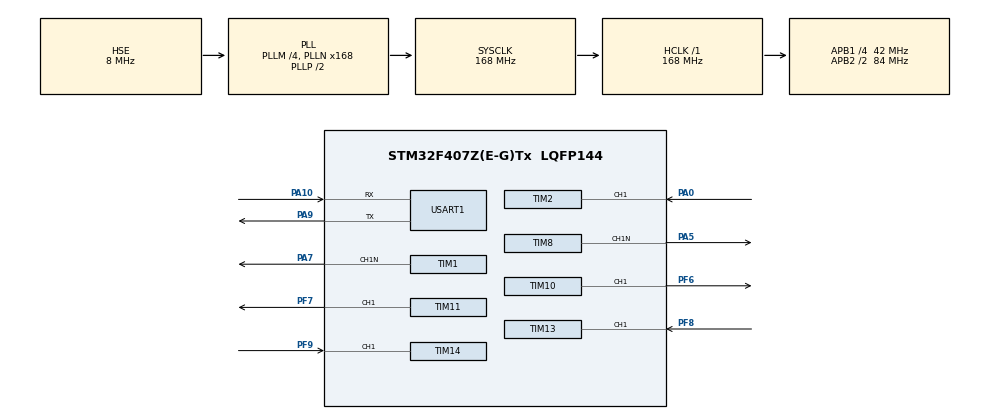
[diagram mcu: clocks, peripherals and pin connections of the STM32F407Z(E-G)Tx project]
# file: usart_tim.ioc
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Mcu.Family=STM32F4
Mcu.Name=STM32F407Z(E-G)Tx
Mcu.Package=LQFP144
NVIC.PriorityGroup=NVIC_PRIORITYGROUP_4
NVIC.TIM2_IRQn=true\:0\:0\:false\:false\:true\:true
NVIC.TIM3_IRQn=true\:0\:0\:false\:false\:true\:true
NVIC.TIM8_TRG_COM_TIM14_IRQn=true\:0\:0\:false\:false\:true\:true
NVIC.TIM8_UP_TIM13_IRQn=true\:0\:0\:false\:false\:true\:true
NVIC.USART1_IRQn=true\:0\:0\:false\:false\:true\:true
PA0-WKUP.GPIO_PuPd=GPIO_PULLUP
PA0-WKUP.GPIO_Speed=GPIO_SPEED_FREQ_HIGH
PA0-WKUP.Signal=S_TIM2_CH1_ETR
PA10.Mode=Asynchronous
PA10.Signal=USART1_RX
PA5.GPIO_PuPd=GPIO_PULLUP
PA5.GPIO_Speed=GPIO_SPEED_FREQ_HIGH
PA5.Mode=PWM Generation1 CH1N
PA5.Signal=TIM8_CH1N
PA7.Mode=PWM Generation1 CH1N
PA7.Signal=TIM1_CH1N
PA9.Mode=Asynchronous
PA9.Signal=USART1_TX
PF6.GPIO_PuPd=GPIO_PULLUP
PF6.GPIO_Speed=GPIO_SPEED_FREQ_HIGH
PF6.Signal=S_TIM10_CH1
PF7.GPIO_PuPd=GPIO_PULLUP
PF7.GPIO_Speed=GPIO_SPEED_FREQ_HIGH
PF7.Signal=S_TIM11_CH1
PF8.GPIO_PuPd=GPIO_PULLUP
PF8.GPIO_Speed=GPIO_SPEED_FREQ_HIGH
PF8.Signal=S_TIM13_CH1
PF9.GPIO_PuPd=GPIO_PULLUP
PF9.GPIO_Speed=GPIO_SPEED_FREQ_HIGH
PF9.Signal=S_TIM14_CH1
PH0-OSC_IN.Mode=HSE-External-Oscillator
PH0-OSC_IN.Signal=RCC_OSC_IN
PH1-OSC_OUT.Mode=HSE-External-Oscillator
PH1-OSC_OUT.Signal=RCC_OSC_OUT
ProjectManager.HeapSize=0x200
ProjectManager.StackSize=0x400
ProjectManager.TargetToolchain=MDK-ARM V5
RCC.48MHZClocksFreq_Value=84000000
RCC.AHBFreq_Value=168000000
RCC.APB1CLKDivider=RCC_HCLK_DIV4
RCC.APB1Freq_Value=42000000
RCC.APB1TimFreq_Value=84000000
RCC.APB2CLKDivider=RCC_HCLK_DIV2
RCC.APB2Freq_Value=84000000
RCC.APB2TimFreq_Value=168000000
RCC.CortexFreq_Value=168000000
RCC.HCLKFreq_Value=168000000
RCC.HSE_VALUE=8000000
RCC.HSI_VALUE=16000000
RCC.LSE_VALUE=32768
RCC.PLLM=4
RCC.PLLN=168
RCC.PLLSourceVirtual=RCC_PLLSOURCE_HSE
RCC.SYSCLKFreq_VALUE=168000000
RCC.SYSCLKSource=RCC_SYSCLKSOURCE_PLLCLK
RCC.VCOOutputFreq_Value=336000000
SH.S_TIM10_CH1.0=TIM10_CH1,PWM Generation1 CH1
SH.S_TIM11_CH1.0=TIM11_CH1,PWM Generation1 CH1
SH.S_TIM13_CH1.0=TIM13_CH1,Input_Capture1_from_TI1
SH.S_TIM14_CH1.0=TIM14_CH1,Input_Capture1_from_TI1
SH.S_TIM2_CH1_ETR.0=TIM2_CH1,Input_Capture1_from_TI1
TIM1.Channel-PWM\ Generation1\ CH1N=TIM_CHANNEL_1
TIM1.Period=2000-1
TIM1.Prescaler=83
TIM10.Channel=TIM_CHANNEL_1
TIM10.Period=2000-1
TIM10.Prescaler=84-1
TIM11.Channel=TIM_CHANNEL_1
TIM11.Period=2000-1
TIM11.Prescaler=83
TIM13.Channel=TIM_CHANNEL_1
TIM13.ICPolarity_CH1=TIM_INPUTCHANNELPOLARITY_RISING
TIM13.Period=0xFFFF
TIM13.Prescaler=83
TIM14.Channel=TIM_CHANNEL_1
TIM14.ICPolarity_CH1=TIM_INPUTCHANNELPOLARITY_RISING
TIM14.Period=0x0FFFF
TIM14.Prescaler=83
TIM2.Channel-Input_Capture1_from_TI1=TIM_CHANNEL_1
TIM2.Period=0xFFFFFFFF
TIM2.Prescaler=84-1
TIM3.Period=50000-1
TIM3.Prescaler=83
TIM8.Channel-PWM\ Generation1\ CH1N=TIM_CHANNEL_1
TIM8.Period=2000-1
TIM8.Prescaler=83
USART1.VirtualMode=VM_ASYNC
VP_TIM10_VS_ClockSourceINT.Mode=Enable_Timer
VP_TIM11_VS_ClockSourceINT.Mode=Enable_Timer
VP_TIM13_VS_ClockSourceINT.Mode=Enable_Timer
VP_TIM14_VS_ClockSourceINT.Mode=Enable_Timer
VP_TIM1_VS_ClockSourceINT.Mode=Internal
VP_TIM2_VS_ClockSourceINT.Mode=Internal
VP_TIM3_VS_ClockSourceINT.Mode=Internal
VP_TIM8_VS_ClockSourceINT.Mode=Internal
board=custom

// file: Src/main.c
/**
  ******************************************************************************
  * @file           : main.c
  * @brief          : Main program body
  ******************************************************************************
  ** This notice applies to any and all portions of this file
  * that are not between comment pairs USER CODE BEGIN and
  * USER CODE END. Other portions of this file, whether
  * inserted by the user or by software development tools
  * are owned by their respective copyright owners.
  *
  * COPYRIGHT(c) 2018 STMicroelectronics
  *
  * Redistribution and use in source and binary forms, with or without modification,
  * are permitted provided that the following conditions are met:
  *   1. Redistributions of source code must retain the above copyright notice,
  *      this list of conditions and the following disclaimer.
  *   2. Redistributions in binary form must reproduce the above copyright notice,
  *      this list of conditions and the following disclaimer in the documentation
  *      and/or other materials provided with the distribution.
  *   3. Neither the name of STMicroelectronics nor the names of its contributors
  *      may be used to endorse or promote products derived from this software
  *      without specific prior written permission.
  *
  * THIS SOFTWARE IS PROVIDED BY THE COPYRIGHT HOLDERS AND CONTRIBUTORS "AS IS"
  * AND ANY EXPRESS OR IMPLIED WARRANTIES, INCLUDING, BUT NOT LIMITED TO, THE
  * IMPLIED WARRANTIES OF MERCHANTABILITY AND FITNESS FOR A PARTICULAR PURPOSE ARE
  * DISCLAIMED. IN NO EVENT SHALL THE COPYRIGHT HOLDER OR CONTRIBUTORS BE LIABLE
  * FOR ANY DIRECT, INDIRECT, INCIDENTAL, SPECIAL, EXEMPLARY, OR CONSEQUENTIAL
  * DAMAGES (INCLUDING, BUT NOT LIMITED TO, PROCUREMENT OF SUBSTITUTE GOODS OR
  * SERVICES; LOSS OF USE, DATA, OR PROFITS; OR BUSINESS INTERRUPTION) HOWEVER
  * CAUSED AND ON ANY THEORY OF LIABILITY, WHETHER IN CONTRACT, STRICT LIABILITY,
  * OR TORT (INCLUDING NEGLIGENCE OR OTHERWISE) ARISING IN ANY WAY OUT OF THE USE
  * OF THIS SOFTWARE, EVEN IF ADVISED OF THE POSSIBILITY OF SUCH DAMAGE.
  *
  ******************************************************************************
  */
#include "main.h"
#include "stm32f4xx_hal.h"
#include "tim.h"
#include "usart.h"
#include "gpio.h"

#define L_setspeed  750
#define R_setspeed  750
/* USER CODE BEGIN Includes */
struct PID
{
	float p;
	float i;
	float d;
};

/* USER CODE END Includes */

/* USER CODE BEGIN PV */
/* Private variables ---------------------------------------------------------*/
uint8_t ReceiveBuff[1];
uint8_t TxBuff[4]="casd";
int i=0;
extern float Freq_CaptureL;
extern float Freq_CaptureR;
struct PID K_motor_L;
struct PID K_motor_R;

int16_t l_out=0,r_out=0;

int l_speed_err0=0;
int l_speed_err1=0;
int l_speed_err2=0;

int r_speed_err0=0;
int r_speed_err1=0;
int r_speed_err2=0;

void encode_data();
void MotorMove(int L_speed,int R_speed);
/* USER CODE END PV */

void SystemClock_Config(void);

/* USER CODE BEGIN PFP */
/* Private function prototypes -----------------------------------------------*/

/* USER CODE END PFP */

int main(void)
{
  /* USER CODE BEGIN 1 */
	K_motor_L.p = 0.766;
	K_motor_L.i = 0.3400;
	K_motor_L.d = 0.005;

//	K_motor_L.p = 0;
//	K_motor_L.i = 0;
//	K_motor_L.d = 0;

	K_motor_R.p = 0.75;
	K_motor_R.i = 0.3;
	K_motor_R.d = 0.005;

  /* USER CODE END 1 */

  /* MCU Configuration----------------------------------------------------------*/

  /* Reset of all peripherals, Initializes the Flash interface and the Systick. */
  HAL_Init();

  /* Configure the system clock */
  SystemClock_Config();

  /* Initialize all configured peripherals */
  MX_GPIO_Init();
  MX_USART1_UART_Init();
  MX_TIM1_Init();
  MX_TIM3_Init();
  MX_TIM13_Init();
  MX_TIM14_Init();
  MX_TIM8_Init();
  MX_TIM10_Init();
  MX_TIM11_Init();
  MX_TIM2_Init();
  /* USER CODE BEGIN 2 */
	HAL_UART_Transmit(&huart1,TxBuff,4,10);

	HAL_TIM_PWM_Start(&htim10,TIM_CHANNEL_1);
	HAL_TIM_PWM_Start(&htim11,TIM_CHANNEL_1);
	HAL_TIMEx_PWMN_Start(&htim1,TIM_CHANNEL_1);
	HAL_TIMEx_PWMN_Start(&htim8,TIM_CHANNEL_1);

	__HAL_TIM_SetCompare(&htim11,TIM_CHANNEL_1,0);
	__HAL_TIM_SetCompare(&htim10,TIM_CHANNEL_1,0);
	__HAL_TIM_SetCompare(&htim8,TIM_CHANNEL_1,0);
	__HAL_TIM_SetCompare(&htim1,TIM_CHANNEL_1,0);

	//HAL_Delay(2000);
	HAL_UART_Receive_IT(&huart1,ReceiveBuff,1);
	HAL_TIM_Base_Start_IT(&htim3);
	HAL_TIM_IC_Start_IT(&htim13,TIM_CHANNEL_1);
	HAL_TIM_IC_Start_IT(&htim14,TIM_CHANNEL_1);
	HAL_TIM_IC_Start_IT(&htim2,TIM_CHANNEL_1);

	//HAL_TIM_IC_Start_IT(&htim2,TIM_CHANNEL_2);
  /* USER CODE END 2 */

  /* Infinite loop */
  while (1)
  {

  }

}

void SystemClock_Config(void)
{

  RCC_OscInitTypeDef RCC_OscInitStruct;
  RCC_ClkInitTypeDef RCC_ClkInitStruct;

    /**Configure the main internal regulator output voltage
    */
  __HAL_RCC_PWR_CLK_ENABLE();

  __HAL_PWR_VOLTAGESCALING_CONFIG(PWR_REGULATOR_VOLTAGE_SCALE1);

    /**Initializes the CPU, AHB and APB busses clocks
    */
  RCC_OscInitStruct.OscillatorType = RCC_OSCILLATORTYPE_HSE;
  RCC_OscInitStruct.HSEState = RCC_HSE_ON;
  RCC_OscInitStruct.PLL.PLLState = RCC_PLL_ON;
  RCC_OscInitStruct.PLL.PLLSource = RCC_PLLSOURCE_HSE;
  RCC_OscInitStruct.PLL.PLLM = 4;
  RCC_OscInitStruct.PLL.PLLN = 168;
  RCC_OscInitStruct.PLL.PLLP = RCC_PLLP_DIV2;
  RCC_OscInitStruct.PLL.PLLQ = 4;
  if (HAL_RCC_OscConfig(&RCC_OscInitStruct) != HAL_OK)
  {
    _Error_Handler(__FILE__, __LINE__);
  }

    /**Initializes the CPU, AHB and APB busses clocks
    */
  RCC_ClkInitStruct.ClockType = RCC_CLOCKTYPE_HCLK|RCC_CLOCKTYPE_SYSCLK
                              |RCC_CLOCKTYPE_PCLK1|RCC_CLOCKTYPE_PCLK2;
  RCC_ClkInitStruct.SYSCLKSource = RCC_SYSCLKSOURCE_PLLCLK;
  RCC_ClkInitStruct.AHBCLKDivider = RCC_SYSCLK_DIV1;
  RCC_ClkInitStruct.APB1CLKDivider = RCC_HCLK_DIV4;
  RCC_ClkInitStruct.APB2CLKDivider = RCC_HCLK_DIV2;

  if (HAL_RCC_ClockConfig(&RCC_ClkInitStruct, FLASH_LATENCY_5) != HAL_OK)
  {
    _Error_Handler(__FILE__, __LINE__);
  }

    /**Configure the Systick interrupt time
    */
  HAL_SYSTICK_Config(HAL_RCC_GetHCLKFreq()/1000);

    /**Configure the Systick
    */
  HAL_SYSTICK_CLKSourceConfig(SYSTICK_CLKSOURCE_HCLK);

  /* SysTick_IRQn interrupt configuration */
  HAL_NVIC_SetPriority(SysTick_IRQn, 0, 0);
}

/* USER CODE BEGIN 4 */
void HAL_UART_RxCpltCallback(UART_HandleTypeDef *huart)
{
	if(huart->Instance==USART1)
		HAL_UART_Transmit(&huart1, "uart1\n",6,10);
		//printf("uart");
}

void HAL_TIM_PeriodElapsedCallback(TIM_HandleTypeDef *htim)
{
	if(htim->Instance == TIM3)
	{
		MotorMove(L_setspeed,R_setspeed);
		encode_data();
		Freq_CaptureL=0;
		Freq_CaptureR=0;
//		//HAL_TIM_IC_Start_IT(&htim13,TIM_CHANNEL_1);
//		//HAL_TIM_IC_Start_IT(&htim14,TIM_CHANNEL_1);
//
//		//printf("tim3\n");
//		l_speed_err2 = l_speed_err1;
//		l_speed_err1 = l_speed_err0;
//		l_speed_err0 = L_setspeed - (int)Freq_CaptureL;
//
//		r_speed_err2 = r_speed_err1;
//		r_speed_err1 = r_speed_err0;
//		r_speed_err0 = R_setspeed - (int)Freq_CaptureR;
//
//	    l_out+=K_motor_L.p*(l_speed_err0-l_speed_err1)+K_motor_L.i*l_speed_err0+K_motor_L.d*(l_speed_err0-2*l_speed_err1+l_speed_err2);
//		r_out+=K_motor_R.p*(r_speed_err0-r_speed_err1)+K_motor_R.i*r_speed_err0+K_motor_R.d*(r_speed_err0-2*r_speed_err1+r_speed_err2);

//
//		if(l_out<0)l_out=0;
//		if(r_out<0)r_out=0;
//		if(l_out>htim1.Init.Period)  l_out = htim1.Init.Period;
//		if(r_out>htim8.Init.Period)  r_out = htim8.Init.Period;
//
//
//		__HAL_TIM_SetCompare(&htim1,TIM_CHANNEL_1,r_out);
//		__HAL_TIM_SetCompare(&htim8,TIM_CHANNEL_1,l_out);
//
//		encode_data();
////		printf("0x030xFC,%d%x%x",0x03,0xFC,(uint16_t)Freq_CaptureL,0xFC,0x03);
////		printf("%x%x",0x03,0xFC);
////		printf("%d",(uint16_t)Freq_CaptureL);
////		printf("%x%x",0xFC,0x03);
//		//if(abs(Freq_CaptureL-Freq_CaptureR)>200)
//		//printf("l_out: %d %d\n",(int16_t)Freq_CaptureR,(int16_t)Freq_CaptureL);
//		//printf("r_out: %d %d\n",(int16_t)l_out,(int16_t)Freq_CaptureR);
//
//		//HAL_UART_Transmit(&huart1,data_code,DATA_CODE_LEN,100);
//		Freq_CaptureL=0;
//		Freq_CaptureR=0;
//		//HAL_TIM_IC_Stop_IT(&htim13,TIM_CHANNEL_1);
//		//HAL_TIM_IC_Stop_IT(&htim14,TIM_CHANNEL_1);
//		//encode_data();
	}
}

#define DATA_CODE_LEN 12
uint8_t data_code[DATA_CODE_LEN + 1];

void encode(uint8_t size, int data, uint8_t * index)
{
	#ifdef DEBUG_MODE
	ASSERT(* index + size <= DATA_CODE_LEN);
	#else
	if(* index + size > DATA_CODE_LEN)
	{
		return;
	}
	#endif

	switch (size)
	{
	case 1:
		data_code[* index] = data;
		break;
	case 2:
		data_code[* index+1] = data >> 8;
		data_code[* index] = data & 255;
		break;
	default:
		break;
	}
	* index += size;
}

//function name:		encode_data()
//function description:	encode datas and send to master
//parameters:			none
//return values:		none
void encode_data()
{
	//int i;
	uint8_t index = 0;
	encode(1, (uint8_t)3,&index);
	encode(1,(uint8_t)~3,&index);

	encode(2, (uint16_t)Freq_CaptureL, &index);
	encode(2, (uint16_t)Freq_CaptureR, &index);
	encode(2, l_out, &index);
	encode(2, r_out, &index);

	encode(1,(uint8_t)~3,&index);
	encode(1,(uint8_t)3,&index);
	/*encode(2, direction, & index);
	for (i = 0; i < 6; i ++)
	{
		encode(2, normalized_ad[i], & index);
	}
*/
	//printf("%d",sizeof(uint8_t));
	HAL_UART_Transmit(&huart1,data_code,DATA_CODE_LEN,100);
	//uart_putbuff(UART0, data_code, DATA_CODE_LEN + 1);
}
void MotorMove(int L_speed,int R_speed)
{
	int L_dir = 0,R_dir=0;
	if(L_speed>=0) L_dir = 1;	//左正转
	else 						//左反转
	{
		L_dir = 0;
		L_speed = -L_speed;
	}

	if(R_speed>=0) R_dir = 1;	//右正转
	else 						//右反转
	{
		R_dir = 0;
		R_speed = -R_speed;
	}

	l_speed_err2 = l_speed_err1;
	l_speed_err1 = l_speed_err0;
	l_speed_err0 = L_speed - (int)Freq_CaptureL;

	r_speed_err2 = r_speed_err1;
	r_speed_err1 = r_speed_err0;
	r_speed_err0 = R_speed - (int)Freq_CaptureR;

	l_out+=K_motor_L.p*(l_speed_err0-l_speed_err1)+K_motor_L.i*l_speed_err0+K_motor_L.d*(l_speed_err0-2*l_speed_err1+l_speed_err2);
	r_out+=K_motor_R.p*(r_speed_err0-r_speed_err1)+K_motor_R.i*r_speed_err0+K_motor_R.d*(r_speed_err0-2*r_speed_err1+r_speed_err2);

	if(l_out<0)l_out=0;
	if(r_out<0)r_out=0;
	if(l_out>htim1.Init.Period)  l_out = htim1.Init.Period;
	if(r_out>htim8.Init.Period)  r_out = htim8.Init.Period;

	if(L_dir)
	{
		__HAL_TIM_SetCompare(&htim8,TIM_CHANNEL_1,l_out);
		__HAL_TIM_SetCompare(&htim11,TIM_CHANNEL_1,0);
	}
	else
	{
		__HAL_TIM_SetCompare(&htim8,TIM_CHANNEL_1,0);
		__HAL_TIM_SetCompare(&htim11,TIM_CHANNEL_1,l_out);
	}
	if(R_dir)
	{
		__HAL_TIM_SetCompare(&htim1,TIM_CHANNEL_1,r_out);
		__HAL_TIM_SetCompare(&htim10,TIM_CHANNEL_1,0);
	}
	else
	{
		__HAL_TIM_SetCompare(&htim1,TIM_CHANNEL_1,0);
		__HAL_TIM_SetCompare(&htim10,TIM_CHANNEL_1,r_out);
	}
}

/* USER CODE END 4 */

void _Error_Handler(char *file, int line)
{
  while(1)
  {
  }
}

/************************ (C) COPYRIGHT STMicroelectronics *****END OF FILE****/
